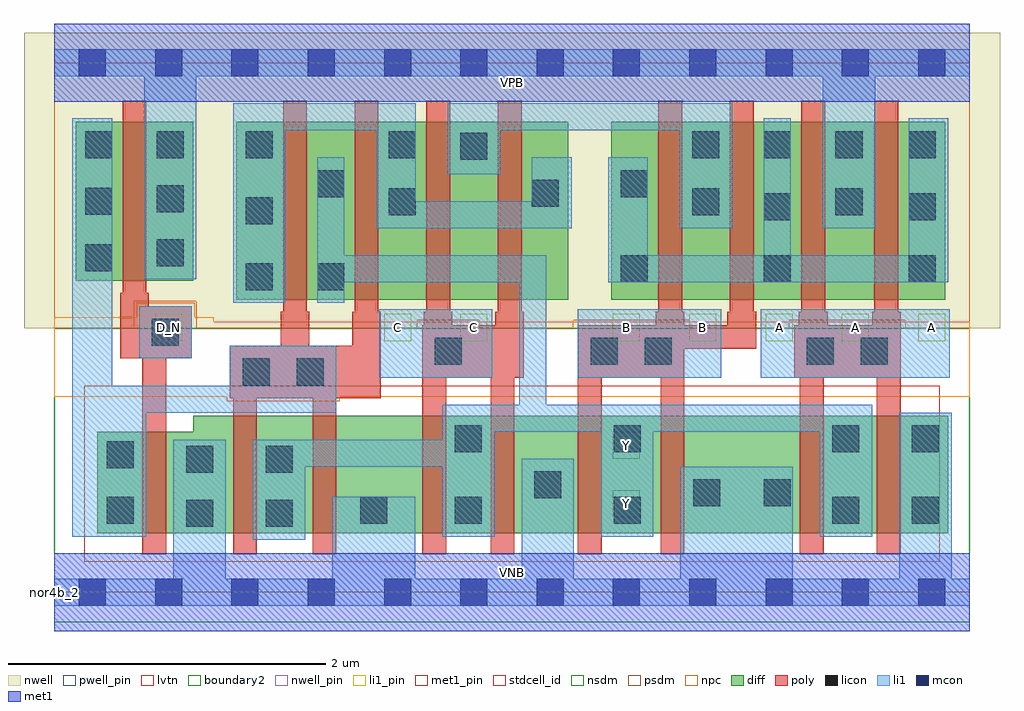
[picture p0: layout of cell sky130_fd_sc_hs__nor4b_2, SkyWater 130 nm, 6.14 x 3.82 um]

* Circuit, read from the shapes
.subckt sky130_fd_sc_hs__nor4b_2 A B C D_N VGND VNB VPB VPWR Y
XM1 VGND D_N n1 VNB sky130_fd_pr__nfet_01v8_lvt w=0.64 l=0.15
XM2 Y n1 VGND VNB sky130_fd_pr__nfet_01v8_lvt w=0.74 l=0.15 m=2
XM3 Y C VGND VNB sky130_fd_pr__nfet_01v8_lvt w=0.74 l=0.15 m=2
XM4 Y B VGND VNB sky130_fd_pr__nfet_01v8_lvt w=0.74 l=0.15 m=2
XM5 Y A VGND VNB sky130_fd_pr__nfet_01v8_lvt w=0.74 l=0.15 m=2
XM6 VPWR D_N n1 VPB sky130_fd_pr__pfet_01v8 w=1 l=0.15
XM7 Y n1 n2 VPB sky130_fd_pr__pfet_01v8 w=1.12 l=0.15 m=2
XM8 n3 C n2 VPB sky130_fd_pr__pfet_01v8 w=1.12 l=0.15 m=2
XM9 n3 B n4 VPB sky130_fd_pr__pfet_01v8 w=1.12 l=0.15 m=2
XM10 VPWR A n4 VPB sky130_fd_pr__pfet_01v8 w=1.12 l=0.15 m=2
.ends

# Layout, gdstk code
import gdstk
lib = gdstk.Library(unit=1e-6, precision=1e-09)
def R(c, l, rs):  # rectangles x0, y0, x1, y1
    for r in rs: c.add(gdstk.rectangle(r[:2], r[2:], *l))
def A(c, l, x, y, w, h, nx, ny, dx, dy):  # array of equal rectangles
    R(c, l, [(x+i*dx, y+j*dy, x+i*dx+w, y+j*dy+h) for i in range(nx) for j in range(ny)])
def P(c, l, *ps):  # polygons
    for p in ps: c.add(gdstk.Polygon(p, *l))
nwell_pin = (64, 16)
nwell = (64, 20)
diff = (65, 20)
poly = (66, 20)
licon = (66, 44)
li1_pin = (67, 16)
li1 = (67, 20)
mcon = (67, 44)
met1_pin = (68, 16)
met1 = (68, 20)
stdcell_id = (81, 4)
nsdm = (93, 44)
psdm = (94, 20)
npc = (95, 20)
pwell_pin = (122, 16)
lvtn = (125, 44)
boundary2 = (236, 0)

sky130_fd_sc_hs__nor4b_2 = lib.new_cell('sky130_fd_sc_hs__nor4b_2')
R(sky130_fd_sc_hs__nor4b_2, nwell_pin, [(0,3.085,5.76,3.33)])
R(sky130_fd_sc_hs__nor4b_2, nwell, [(-0.19,1.66,5.95,3.52)])
R(sky130_fd_sc_hs__nor4b_2, diff, [(1.145,1.84,3.235,2.96), (3.505,1.84,5.605,2.96), (0.135,1.96,0.875,2.96)])
P(sky130_fd_sc_hs__nor4b_2, diff, [(5.625,1.11),(0.875,1.11),(0.875,1.01),(0.27,1.01),(0.27,0.37),(5.625,0.37)])
P(sky130_fd_sc_hs__nor4b_2, poly, [(0.865,1.8),(0.595,1.8),(0.595,1.885),(0.58,1.885),(0.58,3.09),(0.43,3.09),(0.43,1.885),(0.415,1.885),(0.415,1.47),(0.555,1.47),(0.555,0.24),(0.705,0.24),(0.705,1.47),(0.865,1.47)],
  [(2.055,1.765),(2.04,1.765),(2.04,3.09),(1.89,3.09),(1.89,1.765),(1.875,1.765),(1.875,1.55),(1.605,1.55),(1.605,1.765),(1.59,1.765),(1.59,3.09),(1.44,3.09),(1.44,1.765),(1.425,1.765),(1.425,1.55),(1.105,1.55),(1.105,1.22),(1.125,1.22),(1.125,0.24),(1.275,0.24),(1.275,1.22),(1.625,1.22),(1.625,0.24),(1.775,0.24),(1.775,1.22),(2.055,1.22)],
  [(2.955,1.765),(2.94,1.765),(2.94,3.09),(2.79,3.09),(2.79,1.765),(2.775,1.765),(2.775,1.68),(2.505,1.68),(2.505,1.765),(2.49,1.765),(2.49,3.09),(2.34,3.09),(2.34,1.765),(2.325,1.765),(2.325,1.68),(2.315,1.68),(2.315,0.24),(2.465,0.24),(2.465,1.35),(2.745,1.35),(2.745,0.24),(2.895,0.24),(2.895,1.35),(2.955,1.35)],
  [(4.415,1.765),(4.4,1.765),(4.4,3.09),(4.25,3.09),(4.25,1.765),(4.235,1.765),(4.235,1.68),(3.965,1.68),(3.965,1.765),(3.95,1.765),(3.95,3.09),(3.8,3.09),(3.8,1.765),(3.785,1.765),(3.785,1.68),(3.295,1.68),(3.295,0.24),(3.445,0.24),(3.445,1.35),(3.815,1.35),(3.815,0.24),(3.965,0.24),(3.965,1.53),(4.415,1.53)],
  [(5.325,1.765),(5.31,1.765),(5.31,3.09),(5.16,3.09),(5.16,1.765),(5.145,1.765),(5.145,1.68),(4.865,1.68),(4.865,1.765),(4.85,1.765),(4.85,3.09),(4.7,3.09),(4.7,1.765),(4.685,1.765),(4.685,1.68),(4.655,1.68),(4.655,1.35),(4.69,1.35),(4.69,0.24),(4.84,0.24),(4.84,1.35),(5.175,1.35),(5.175,0.24),(5.325,0.24)])
A(sky130_fd_sc_hs__nor4b_2, licon, 1.205, 1.9, 0.17, 0.17, 1, 3, 0, 0.415)
A(sky130_fd_sc_hs__nor4b_2, licon, 5.375, 1.95, 0.17, 0.17, 1, 3, 0, 0.39)
A(sky130_fd_sc_hs__nor4b_2, licon, 0.195, 2.02, 0.17, 0.17, 1, 3, 0, 0.355)
A(sky130_fd_sc_hs__nor4b_2, licon, 0.645, 2.05, 0.17, 0.17, 1, 3, 0, 0.34)
A(sky130_fd_sc_hs__nor4b_2, licon, 4.015, 2.73, 0.17, 0.17, 3, 1, 0.45, 0)
R(sky130_fd_sc_hs__nor4b_2, licon, [(0.83,0.41,1,0.58), (1.33,0.41,1.5,0.58), (0.33,0.43,0.5,0.6), (1.925,0.43,2.095,0.6), (2.52,0.43,2.69,0.6), (3.52,0.43,3.69,0.6), (4.895,0.43,5.065,0.6), (5.395,0.43,5.565,0.6), (4.02,0.54,4.19,0.71), (4.465,0.54,4.635,0.71), (3.02,0.59,3.19,0.76), (0.83,0.75,1,0.92), (1.33,0.75,1.5,0.92), (0.33,0.78,0.5,0.95), (2.52,0.88,2.69,1.05), (3.52,0.88,3.69,1.05), (4.895,0.88,5.065,1.05), (5.395,0.88,5.565,1.05), (1.185,1.3,1.355,1.47), (1.525,1.3,1.695,1.47), (2.395,1.43,2.565,1.6), (3.375,1.43,3.545,1.6), (3.715,1.43,3.885,1.6), (4.735,1.43,4.905,1.6), (5.075,1.43,5.245,1.6), (0.615,1.55,0.785,1.72), (1.655,1.9,1.825,2.07), (3.565,1.95,3.735,2.12), (4.465,1.95,4.635,2.12), (4.465,2.34,4.635,2.51), (2.105,2.37,2.275,2.54), (4.015,2.37,4.185,2.54), (4.915,2.37,5.085,2.54), (3.005,2.425,3.175,2.595), (1.655,2.485,1.825,2.655), (3.565,2.485,3.735,2.655), (2.555,2.72,2.725,2.89), (2.105,2.73,2.275,2.9)])
A(sky130_fd_sc_hs__nor4b_2, li1_pin, 3.515, 1.58, 0.17, 0.17, 5, 1, 0.48, 0)
R(sky130_fd_sc_hs__nor4b_2, li1_pin, [(3.515,0.47,3.685,0.64), (3.515,0.84,3.685,1.01), (0.635,1.58,0.805,1.75), (2.075,1.58,2.245,1.75), (2.555,1.58,2.725,1.75)])
R(sky130_fd_sc_hs__nor4b_2, li1, [(2.045,1.35,2.755,1.78), (3.295,1.35,4.195,1.78), (4.445,1.35,5.635,1.78), (0.535,1.47,0.865,1.8)])
P(sky130_fd_sc_hs__nor4b_2, li1, [(0,-0.085),(0,0.085),(0.75,0.085),(0.75,0.96),(1.08,0.96),(1.08,0.085),(1.75,0.085),(1.75,0.6),(2.27,0.6),(2.27,0.085),(2.94,0.085),(2.94,0.84),(3.27,0.84),(3.27,0.085),(3.94,0.085),(3.94,0.79),(4.645,0.79),(4.645,0.085),(5.315,0.085),(5.315,1.13),(5.645,1.13),(5.645,0.085),(5.76,0.085),(5.76,-0.085)],
  [(0,3.245),(0,3.415),(5.76,3.415),(5.76,3.245),(5.165,3.245),(5.165,2.29),(4.835,2.29),(4.835,3.245),(0.895,3.245),(0.895,1.97),(0.565,1.97),(0.565,3.245)],
  [(2.925,1.18),(2.925,1.95),(1.825,1.95),(1.825,1.82),(1.655,1.82),(1.655,2.735),(1.825,2.735),(1.825,2.12),(3.095,2.12),(3.095,1.18),(5.145,1.18),(5.145,0.35),(4.815,0.35),(4.815,1.01),(3.77,1.01),(3.77,0.35),(3.44,0.35),(3.44,1.01),(2.77,1.01),(2.77,0.35),(2.44,0.35),(2.44,0.79),(1.58,0.79),(1.58,0.33),(1.25,0.33),(1.25,0.96),(2.44,0.96),(2.44,1.18)],
  [(0.115,0.35),(0.115,2.98),(0.365,2.98),(0.365,1.3),(1.105,1.3),(1.105,1.55),(1.775,1.55),(1.775,1.13),(0.58,1.13),(0.58,0.35)],
  [(3.735,2.12),(4.465,2.12),(4.465,2.98),(4.635,2.98),(4.635,2.12),(5.375,2.12),(5.375,2.98),(5.625,2.98),(5.625,1.95),(3.485,1.95),(3.485,2.735),(3.735,2.735)],
  [(4.265,3.075),(4.265,2.29),(3.935,2.29),(3.935,2.905),(2.805,2.905),(2.805,2.63),(2.475,2.63),(2.475,3.075)],
  [(2.275,3.075),(2.275,2.46),(3.005,2.46),(3.005,2.735),(3.255,2.735),(3.255,2.29),(2.025,2.29),(2.025,2.905),(1.455,2.905),(1.455,1.82),(1.125,1.82),(1.125,3.075)])
A(sky130_fd_sc_hs__nor4b_2, mcon, 0.155, -0.085, 0.17, 0.17, 12, 2, 0.48, 3.33)
R(sky130_fd_sc_hs__nor4b_2, met1_pin, [(0,0,5.76,0.245), (0,3.085,5.76,3.33)])
R(sky130_fd_sc_hs__nor4b_2, met1, [(0,-0.245,5.76,0.245), (0,3.085,5.76,3.575)])
R(sky130_fd_sc_hs__nor4b_2, stdcell_id, [(0,0,5.76,3.33)])
R(sky130_fd_sc_hs__nor4b_2, nsdm, [(0,-0.19,5.76,1.66)])
P(sky130_fd_sc_hs__nor4b_2, psdm, [(5.76,3.52),(0,3.52),(0,1.66),(0.505,1.66),(0.505,1.83),(0.895,1.83),(0.895,1.66),(2.285,1.66),(2.285,1.71),(2.675,1.71),(2.675,1.66),(3.265,1.66),(3.265,1.71),(3.995,1.71),(3.995,1.66),(4.625,1.66),(4.625,1.71),(5.355,1.71),(5.355,1.66),(5.76,1.66)])
P(sky130_fd_sc_hs__nor4b_2, npc, [(5.76,1.7),(1.005,1.7),(1.005,1.73),(0.885,1.73),(0.885,1.82),(0.515,1.82),(0.515,1.73),(0,1.73),(0,1.23),(1.085,1.23),(1.085,1.2),(1.795,1.2),(1.795,1.23),(5.76,1.23)])
R(sky130_fd_sc_hs__nor4b_2, pwell_pin, [(0,0,5.76,0.245)])
R(sky130_fd_sc_hs__nor4b_2, lvtn, [(0.19,0.19,5.57,1.3)])
R(sky130_fd_sc_hs__nor4b_2, boundary2, [(0,0,5.76,3.33)])
sky130_fd_sc_hs__nor4b_2.add(gdstk.Label('nor4b_2', (0,0), layer=83, texttype=44))
sky130_fd_sc_hs__nor4b_2.add(gdstk.Label('VNB', (2.88,0.123), layer=64, texttype=59))
sky130_fd_sc_hs__nor4b_2.add(gdstk.Label('VPB', (2.88,3.208), layer=64, texttype=5))
sky130_fd_sc_hs__nor4b_2.add(gdstk.Label('VPWR', (2.88,3.208), layer=68, texttype=5))
sky130_fd_sc_hs__nor4b_2.add(gdstk.Label('VGND', (2.88,0.123), layer=68, texttype=5))
sky130_fd_sc_hs__nor4b_2.add(gdstk.Label('A', (4.56,1.665), layer=67, texttype=5))
sky130_fd_sc_hs__nor4b_2.add(gdstk.Label('A', (5.04,1.665), layer=67, texttype=5))
sky130_fd_sc_hs__nor4b_2.add(gdstk.Label('A', (5.52,1.665), layer=67, texttype=5))
sky130_fd_sc_hs__nor4b_2.add(gdstk.Label('B', (3.6,1.665), layer=67, texttype=5))
sky130_fd_sc_hs__nor4b_2.add(gdstk.Label('B', (4.08,1.665), layer=67, texttype=5))
sky130_fd_sc_hs__nor4b_2.add(gdstk.Label('C', (2.16,1.665), layer=67, texttype=5))
sky130_fd_sc_hs__nor4b_2.add(gdstk.Label('C', (2.64,1.665), layer=67, texttype=5))
sky130_fd_sc_hs__nor4b_2.add(gdstk.Label('D_N', (0.72,1.665), layer=67, texttype=5))
sky130_fd_sc_hs__nor4b_2.add(gdstk.Label('Y', (3.6,0.555), layer=67, texttype=5))
sky130_fd_sc_hs__nor4b_2.add(gdstk.Label('Y', (3.6,0.925), layer=67, texttype=5))

lib.write_gds('sky130_fd_sc_hs__nor4b_2.gds')
